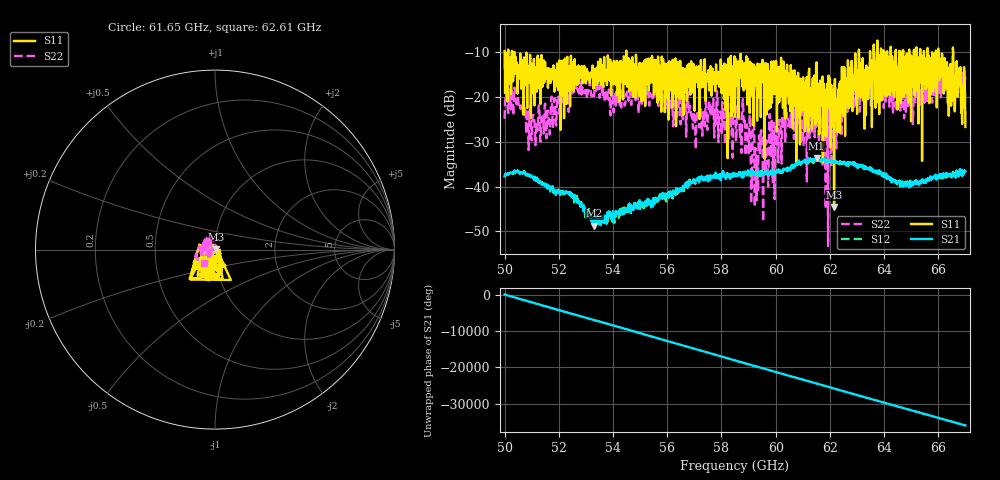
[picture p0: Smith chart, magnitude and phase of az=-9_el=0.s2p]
!Created with skrf (http://scikit-rf.org).
# GHz S RI R 50.0
!freq ReS11 ImS11 ReS21 ImS21 ReS12 ImS12 ReS22 ImS22
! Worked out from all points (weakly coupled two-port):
!   1001 points, 50 GHz to 67 GHz, reference 50 ohm
!   highest |S21| = -33.64 dB at 61.51 GHz (marker M1); lowest = -48.7 dB at 53.31 GHz (marker M2)
!   lowest |S11| = -44.6 dB at 62.16 GHz (marker M3), VSWR 1.01, Z = 50.6 + j0.167 ohm
!   |S11| at or under -10 dB: 50.36 GHz to 54.49 GHz (4.13 GHz wide, 7.88 % of centre); 54.49 GHz to 63.07 GHz (8.582 GHz wide, 14.6 % of centre); 66.01 GHz to 66.54 GHz (532.2 MHz wide, 0.803 % of centre) (the widest 3 of 26)
!   |S22| runs from -53.3 to -14.0 dB; largest |S21 - S12| = 0.0024
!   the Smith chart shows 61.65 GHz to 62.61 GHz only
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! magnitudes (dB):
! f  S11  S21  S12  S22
! 50 GHz  -9.8  -37.7  -37.7  -24.9
! 50.42 GHz  -13.4  -36.7  -36.6  -21.5
! 51.07 GHz  -11.8  -37.9  -38.3  -24.0
! 52.84 GHz  -14.0  -43.8  -44.1  -19.5
! 53.31 GHz  -13.8  -48.7  -49.2  -18.8
! 55.68 GHz  -13.5  -42.8  -42.9  -22.0
! 56.99 GHz  -14.9  -38.8  -38.7  -22.0
! 57.62 GHz  -15.9  -38.0  -37.9  -21.6
! 58.5 GHz  -24.4  -37.3  -37.6  -23.9
! 58.86 GHz  -18.2  -36.8  -36.7  -24.7
! 59.32 GHz  -25.3  -37.1  -36.7  -33.6
! 60.64 GHz  -14.2  -35.3  -35.4  -22.6
! 61.34 GHz  -27.3  -34.2  -34.5  -25.8
! 61.51 GHz  -12.3  -33.6  -34.1  -26.7
! 61.88 GHz  -28.9  -34.3  -34.5  -23.0
! 62.16 GHz  -44.6  -34.4  -34.5  -28.0
! 63.01 GHz  -23.8  -35.0  -35.2  -19.8
! 64.18 GHz  -18.6  -38.3  -38.0  -18.8
! 66.08 GHz  -15.1  -37.4  -37.7  -15.5
! 66.42 GHz  -15.0  -37.3  -37.0  -16.4
! 66.75 GHz  -17.2  -37.8  -36.9  -18.2
! 67 GHz  -26.7  -36.7  -36.6  -15.6
